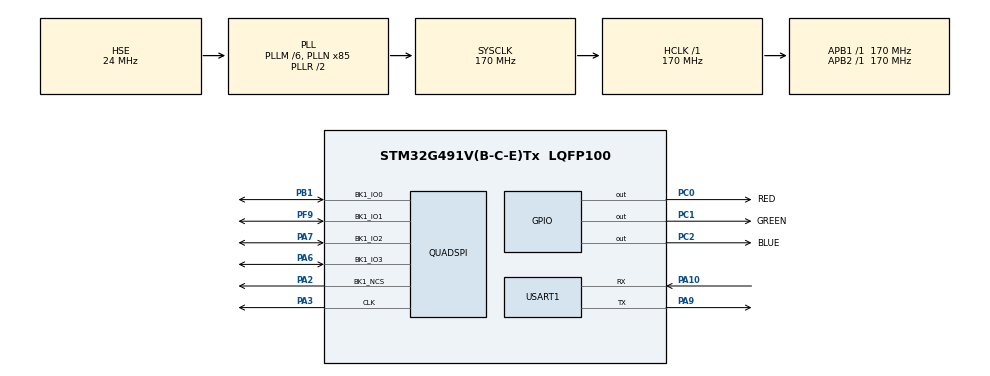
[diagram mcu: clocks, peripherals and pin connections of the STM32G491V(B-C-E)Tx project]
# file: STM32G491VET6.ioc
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Mcu.Family=STM32G4
Mcu.Name=STM32G491V(B-C-E)Tx
Mcu.Package=LQFP100
NVIC.PriorityGroup=NVIC_PRIORITYGROUP_4
NVIC.USART1_IRQn=true\:0\:0\:false\:false\:true\:true\:true\:true
PA10.Mode=Asynchronous
PA10.Signal=USART1_RX
PA13.Mode=Serial_Wire
PA13.Signal=SYS_JTMS-SWDIO
PA14.Mode=Serial_Wire
PA14.Signal=SYS_JTCK-SWCLK
PA9.Mode=Asynchronous
PA9.Signal=USART1_TX
PC0.GPIO_Label=RED
PC0.GPIO_PuPd=GPIO_PULLUP
PC0.GPIO_Speed=GPIO_SPEED_FREQ_VERY_HIGH
PC0.PinState=GPIO_PIN_SET
PC0.Signal=GPIO_Output
PC1.GPIO_Label=GREEN
PC1.GPIO_PuPd=GPIO_PULLUP
PC1.GPIO_Speed=GPIO_SPEED_FREQ_VERY_HIGH
PC1.PinState=GPIO_PIN_SET
PC1.Signal=GPIO_Output
PC2.GPIO_Label=BLUE
PC2.GPIO_PuPd=GPIO_PULLUP
PC2.GPIO_Speed=GPIO_SPEED_FREQ_VERY_HIGH
PC2.PinState=GPIO_PIN_SET
PC2.Signal=GPIO_Output
PA2.Mode=Single Bank 1
PA2.Signal=QUADSPI_BK1_NCS
PA3.Mode=Single Bank 1
PA3.Signal=QUADSPI_CLK
PA6.Mode=Single Bank 1
PA6.Signal=QUADSPI_BK1_IO3
PA7.Mode=Single Bank 1
PA7.Signal=QUADSPI_BK1_IO2
PB1.Mode=Single Bank 1
PB1.Signal=QUADSPI_BK1_IO0
PF9.Mode=Single Bank 1
PF9.Signal=QUADSPI_BK1_IO1
PF0-OSC_IN.Mode=HSE-External-Oscillator
PF0-OSC_IN.Signal=RCC_OSC_IN
PF1-OSC_OUT.Mode=HSE-External-Oscillator
PF1-OSC_OUT.Signal=RCC_OSC_OUT
ProjectManager.HeapSize=0x200
ProjectManager.StackSize=0x400
ProjectManager.TargetToolchain=MDK-ARM V5.32
QUADSPI.ChipSelectHighTime=QSPI_CS_HIGH_TIME_2_CYCLE
QUADSPI.ClockPrescaler=1
QUADSPI.FifoThreshold=32
QUADSPI.FlashSize=23
RCC.ADC12Freq_Value=170000000
RCC.ADC345Freq_Value=170000000
RCC.AHBFreq_Value=170000000
RCC.APB1Freq_Value=170000000
RCC.APB1TimFreq_Value=170000000
RCC.APB2Freq_Value=170000000
RCC.APB2TimFreq_Value=170000000
RCC.CortexFreq_Value=170000000
RCC.EXTERNAL_CLOCK_VALUE=12288000
RCC.HCLKFreq_Value=170000000
RCC.HSE_VALUE=24000000
RCC.HSI48_VALUE=48000000
RCC.HSI_VALUE=16000000
RCC.LSE_VALUE=32768
RCC.PLLM=RCC_PLLM_DIV6
RCC.PLLN=85
RCC.PLLSourceVirtual=RCC_PLLSOURCE_HSE
RCC.SYSCLKFreq_VALUE=170000000
RCC.SYSCLKSource=RCC_SYSCLKSOURCE_PLLCLK
RCC.USBFreq_Value=170000000
RCC.VCOOutputFreq_Value=340000000
USART1.VirtualMode-Asynchronous=VM_ASYNC
VP_SYS_VS_DBSignals.Mode=DisableDeadBatterySignals
board=custom

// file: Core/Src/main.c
/* USER CODE BEGIN Header */
/**
  ******************************************************************************
  * @file           : main.c
  * @brief          : Main program body
  ******************************************************************************
  * @attention
  *
  * Copyright (c) 2026 STMicroelectronics.
  * All rights reserved.
  *
  * This software is licensed under terms that can be found in the LICENSE file
  * in the root directory of this software component.
  * If no LICENSE file comes with this software, it is provided AS-IS.
  *
  ******************************************************************************
  */
/* USER CODE END Header */
#include "main.h"
#include "usart.h"
#include "gpio.h"
#include "quadspi.h"

/* USER CODE BEGIN Includes */
#include <string.h>
#include <stdlib.h>
#include "stdio.h"
#include "bsp_qspi_w25q256.h"

/* USER CODE END Includes */

void SystemClock_Config(void);

/* USER CODE BEGIN 0 */
int fputc(int ch, FILE *f)
{
	HAL_UART_Transmit(&huart1, (uint8_t *)&ch, 1, 0xFFFF);
	return ch;
}

uint8_t rx1_buf;

/**
	* @brief          串口接收中断回调函数
  * @param[in]     	huart 串口句柄
  * @retval         none
  */
void HAL_UART_RxCpltCallback(UART_HandleTypeDef *huart)
{

	if(huart->Instance==USART1)
	{
		HAL_UART_Receive_IT(&huart1, &rx1_buf, 1);

		HAL_UART_Transmit(&huart1, &rx1_buf, 1, 1000);

	}

}
/* USER CODE END 0 */

int main(void)
{

  /* MCU Configuration--------------------------------------------------------*/

  /* Reset of all peripherals, Initializes the Flash interface and the Systick. */
  HAL_Init();

  /* Configure the system clock */
  SystemClock_Config();

  /* Initialize all configured peripherals */
  MX_GPIO_Init();
  MX_USART1_UART_Init();
  MX_QUADSPI_Init();
  /* USER CODE BEGIN 2 */
	printf("QSPI Flash Test\r\n");
	HAL_UART_Receive_IT(&huart1, &rx1_buf, 1);
	{
		static uint8_t buf[256];
		uint32_t id;
		int i;
		id = QSPI_ReadID();
		printf("Flash ID = %08X\r\n", id);

		QSPI_EraseSector(0);
		for (i = 0; i < 256; i++) buf[i] = i;
		QSPI_WriteBuffer(buf, 0, 256);
		memset(buf, 0, 256);
		QSPI_ReadBuffer(buf, 0, 256);
		for (i = 0; i < 256; i++) { if (buf[i] != i) break; }
		if (i == 256)
		{
			printf("QSPI Flash test PASS\r\n");
			HAL_GPIO_WritePin(GREEN_GPIO_Port, GREEN_Pin, GPIO_PIN_RESET);
		}
		else
		{
			printf("QSPI Flash test FAIL\r\n");
			HAL_GPIO_WritePin(RED_GPIO_Port, RED_Pin, GPIO_PIN_RESET);
		}
	}
  /* USER CODE END 2 */

  /* Infinite loop */
  /* USER CODE BEGIN WHILE */
  while (1)
  {
		HAL_GPIO_TogglePin(RED_GPIO_Port,RED_Pin);
		HAL_GPIO_TogglePin(GREEN_GPIO_Port,GREEN_Pin);
		HAL_GPIO_TogglePin(BLUE_GPIO_Port,BLUE_Pin);
		HAL_Delay(500);
    /* USER CODE END WHILE */

  }
}

void SystemClock_Config(void)
{
  RCC_OscInitTypeDef RCC_OscInitStruct = {0};
  RCC_ClkInitTypeDef RCC_ClkInitStruct = {0};

  /** Configure the main internal regulator output voltage
  */
  HAL_PWREx_ControlVoltageScaling(PWR_REGULATOR_VOLTAGE_SCALE1_BOOST);

  /** Initializes the RCC Oscillators according to the specified parameters
  * in the RCC_OscInitTypeDef structure.
  */
  RCC_OscInitStruct.OscillatorType = RCC_OSCILLATORTYPE_HSE;
  RCC_OscInitStruct.HSEState = RCC_HSE_ON;
  RCC_OscInitStruct.PLL.PLLState = RCC_PLL_ON;
  RCC_OscInitStruct.PLL.PLLSource = RCC_PLLSOURCE_HSE;
  RCC_OscInitStruct.PLL.PLLM = RCC_PLLM_DIV6;
  RCC_OscInitStruct.PLL.PLLN = 85;
  RCC_OscInitStruct.PLL.PLLP = RCC_PLLP_DIV2;
  RCC_OscInitStruct.PLL.PLLQ = RCC_PLLQ_DIV2;
  RCC_OscInitStruct.PLL.PLLR = RCC_PLLR_DIV2;
  if (HAL_RCC_OscConfig(&RCC_OscInitStruct) != HAL_OK)
  {
    Error_Handler();
  }

  /** Initializes the CPU, AHB and APB buses clocks
  */
  RCC_ClkInitStruct.ClockType = RCC_CLOCKTYPE_HCLK|RCC_CLOCKTYPE_SYSCLK
                              |RCC_CLOCKTYPE_PCLK1|RCC_CLOCKTYPE_PCLK2;
  RCC_ClkInitStruct.SYSCLKSource = RCC_SYSCLKSOURCE_PLLCLK;
  RCC_ClkInitStruct.AHBCLKDivider = RCC_SYSCLK_DIV1;
  RCC_ClkInitStruct.APB1CLKDivider = RCC_HCLK_DIV1;
  RCC_ClkInitStruct.APB2CLKDivider = RCC_HCLK_DIV1;

  if (HAL_RCC_ClockConfig(&RCC_ClkInitStruct, FLASH_LATENCY_4) != HAL_OK)
  {
    Error_Handler();
  }
}

void Error_Handler(void)
{
  __disable_irq();
  while (1)
  {
  }
}
